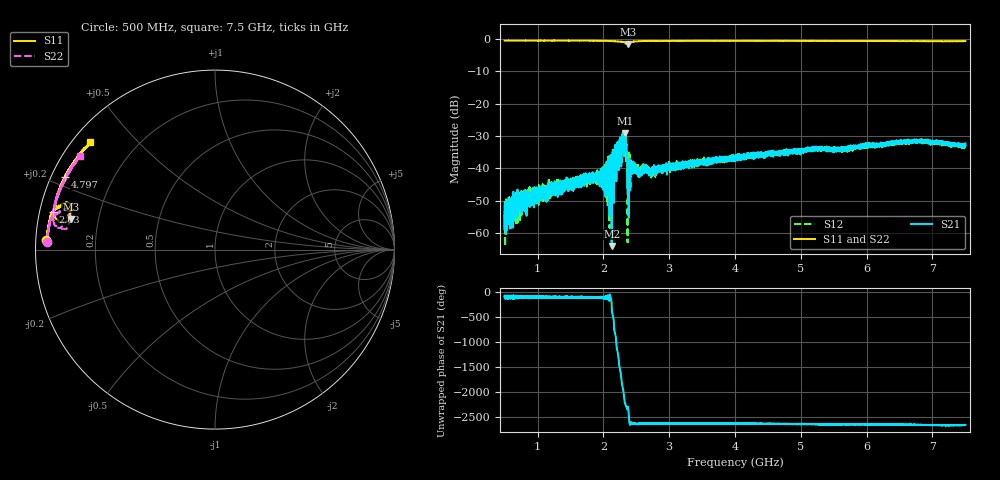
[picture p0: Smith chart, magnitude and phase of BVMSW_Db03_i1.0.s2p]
!Keysight Technologies,M9374A,MY55442783,A.12.55.05
!Date: Friday, May 21, 2021 10:41:34
!Correction: S11(Full 2 Port(1,2))
!S21(Full 2 Port(1,2))
!S12(Full 2 Port(1,2))
!S22(Full 2 Port(1,2))
!S2P File: Measurements: S11, S21, S12, S22:
# Hz S  RI  R 50
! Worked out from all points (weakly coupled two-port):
!   7001 points, 500 MHz to 7.5 GHz, reference 50 ohm
!   highest |S21| = -29.06 dB at 2.334 GHz (marker M1); lowest = -63.9 dB at 2.127 GHz (marker M2)
!   lowest |S11| = -1.7 dB at 2.382 GHz (marker M3), VSWR 10.17, Z = 4.97 + j5.18 ohm
!   |S11| at or under -10 dB: nowhere
!   |S22| runs from -1.8 to -0.5 dB; largest |S21 - S12| = 0.014
!   S11 on the Smith chart (normalised r, x): 500 MHz: 0.03, +0.03; 2.03 GHz: 0.04, +0.11; 4.797 GHz: 0.04, +0.23; 7.5 GHz: 0.05, +0.37
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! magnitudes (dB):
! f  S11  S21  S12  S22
! 500 MHz  -0.5  -54.4  -50.1  -0.6
! 536 MHz  -0.5  -56.1  -53.0  -0.6
! 969 MHz  -0.6  -49.5  -50.3  -0.6
! 1.667 GHz  -0.6  -43.4  -44.1  -0.6
! 2.03 GHz  -0.6  -45.7  -45.3  -0.7
! 2.127 GHz  -0.7  -63.9  -53.5  -0.7
! 2.275 GHz  -0.9  -38.1  -37.9  -0.9
! 2.319 GHz  -1.0  -34.1  -34.5  -1.0
! 2.334 GHz  -1.4  -29.1  -29.4  -1.5
! 2.348 GHz  -1.6  -32.1  -35.5  -1.5
! 2.382 GHz  -1.7  -45.1  -46.5  -1.6
! 2.4 GHz  -1.3  -39.7  -38.3  -1.2
! 2.425 GHz  -1.0  -40.8  -40.6  -1.0
! 2.474 GHz  -0.8  -39.1  -39.7  -0.8
! 2.548 GHz  -0.7  -42.4  -40.8  -0.8
! 2.834 GHz  -0.7  -40.1  -41.2  -0.7
! 4 GHz  -0.6  -37.3  -37.0  -0.7
! 4.797 GHz  -0.6  -35.0  -35.5  -0.7
! 5.167 GHz  -0.7  -33.9  -34.0  -0.7
! 6.334 GHz  -0.7  -32.2  -32.4  -0.7
! 6.818 GHz  -0.8  -31.6  -31.3  -0.7
! 7.5 GHz  -0.7  -32.3  -33.3  -0.8
